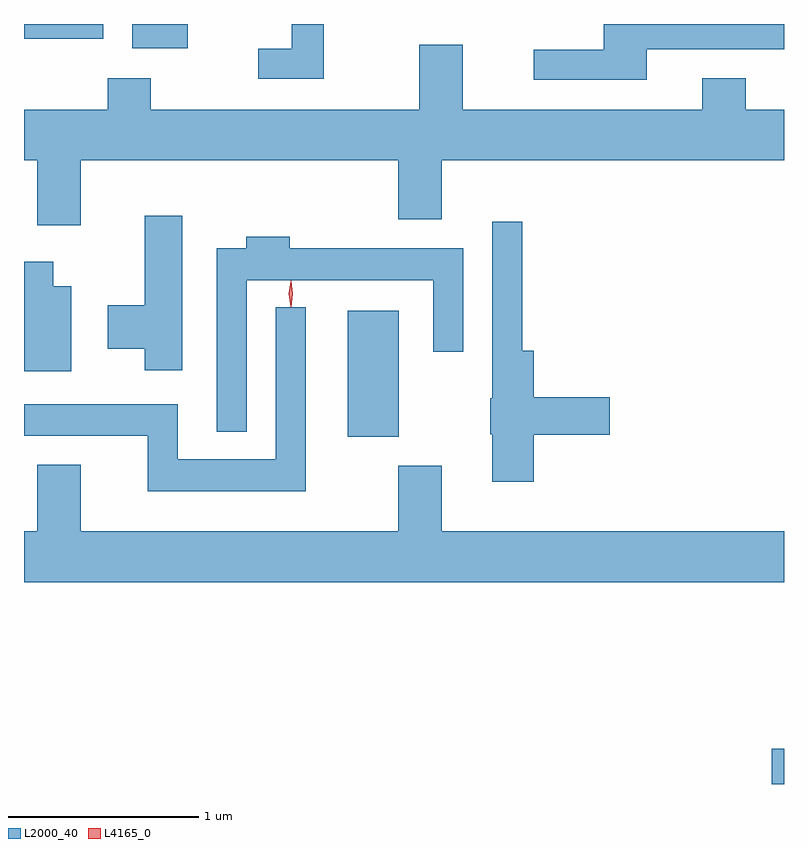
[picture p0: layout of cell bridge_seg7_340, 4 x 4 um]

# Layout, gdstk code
import gdstk
lib = gdstk.Library(unit=1e-6, precision=1e-09)
def R(c, l, rs):  # rectangles x0, y0, x1, y1
    for r in rs: c.add(gdstk.rectangle(r[:2], r[2:], *l))
def P(c, l, *ps):  # polygons
    for p in ps: c.add(gdstk.Polygon(p, *l))
L2000_40 = (2000, 40)
L4165_0 = (4165, 0)

bridge_seg7_340 = lib.new_cell('bridge_seg7_340')
R(bridge_seg7_340, L2000_40, [(1180.966,1757.654,1181.031,1757.839), (1178.736,1759.481,1179.004,1760.144), (1177.601,1761.526,1177.894,1761.654), (1177.031,1761.576,1177.449,1761.654)])
P(bridge_seg7_340, L2000_40, [(1178.609,1761.654),(1178.441,1761.654),(1178.441,1761.524),(1178.263,1761.524),(1178.263,1761.366),(1178.609,1761.366)],
  [(1180.309,1761.521),(1181.031,1761.521),(1181.031,1761.654),(1180.081,1761.654),(1180.081,1761.519),(1179.713,1761.519),(1179.713,1761.361),(1180.309,1761.361)],
  [(1177.329,1760.936),(1179.001,1760.936),(1179.001,1760.626),(1179.229,1760.626),(1179.229,1760.936),(1181.031,1760.936),(1181.031,1761.204),(1180.829,1761.204),(1180.829,1761.369),(1180.601,1761.369),(1180.601,1761.204),(1179.339,1761.204),(1179.339,1761.544),(1179.111,1761.544),(1179.111,1761.204),(1177.699,1761.204),(1177.699,1761.369),(1177.471,1761.369),(1177.471,1761.204),(1177.031,1761.204),(1177.031,1760.936),(1177.101,1760.936),(1177.101,1760.596),(1177.329,1760.596)],
  [(1177.864,1760.644),(1177.666,1760.644),(1177.666,1760.174),(1177.471,1760.174),(1177.471,1759.946),(1177.666,1759.946),(1177.666,1759.831),(1177.864,1759.831)],
  [(1179.714,1759.491),(1180.114,1759.491),(1180.114,1759.689),(1179.714,1759.689),(1179.714,1759.934),(1179.654,1759.934),(1179.654,1760.613),(1179.496,1760.613),(1179.496,1759.685),(1179.486,1759.685),(1179.486,1759.495),(1179.496,1759.495),(1179.496,1759.246),(1179.714,1759.246)],
  [(1178.204,1760.306),(1179.186,1760.306),(1179.186,1759.928),(1179.344,1759.928),(1179.344,1760.474),(1178.429,1760.474),(1178.429,1760.534),(1178.201,1760.534),(1178.201,1760.474),(1178.046,1760.474),(1178.046,1759.508),(1178.204,1759.508)],
  [(1177.279,1760.274),(1177.184,1760.274),(1177.184,1760.404),(1177.031,1760.404),(1177.031,1759.826),(1177.279,1759.826)],
  [(1178.514,1760.163),(1178.356,1760.163),(1178.356,1759.364),(1177.839,1759.364),(1177.839,1759.654),(1177.031,1759.654),(1177.031,1759.486),(1177.681,1759.486),(1177.681,1759.196),(1178.514,1759.196)],
  [(1181.031,1758.984),(1179.229,1758.984),(1179.229,1759.329),(1179.001,1759.329),(1179.001,1758.984),(1177.329,1758.984),(1177.329,1759.334),(1177.101,1759.334),(1177.101,1758.984),(1177.031,1758.984),(1177.031,1758.716),(1181.031,1758.716)])
P(bridge_seg7_340, L4165_0, [(1178.436,1760.164),(1178.436,1760.164),(1178.426,1760.233),(1178.436,1760.302),(1178.436,1760.303),(1178.437,1760.302),(1178.446,1760.233),(1178.437,1760.164)],
  [(1178.434,1760.167),(1178.434,1760.167),(1178.424,1760.234),(1178.434,1760.3),(1178.434,1760.301),(1178.435,1760.3),(1178.444,1760.234),(1178.435,1760.167)])

lib.write_gds('bridge_seg7_340.gds')
